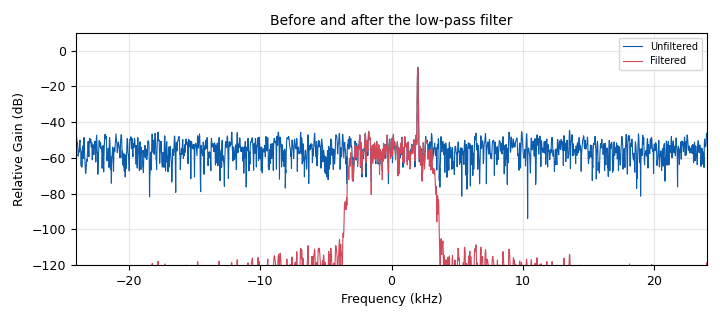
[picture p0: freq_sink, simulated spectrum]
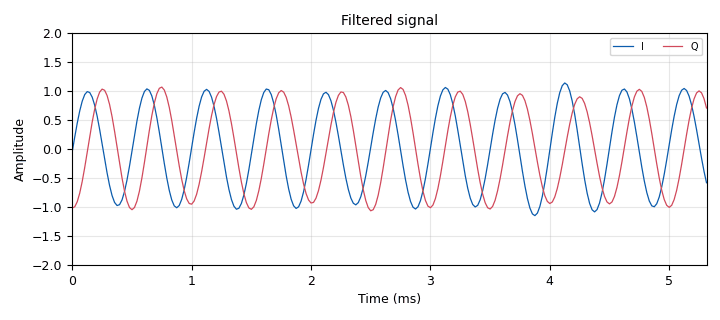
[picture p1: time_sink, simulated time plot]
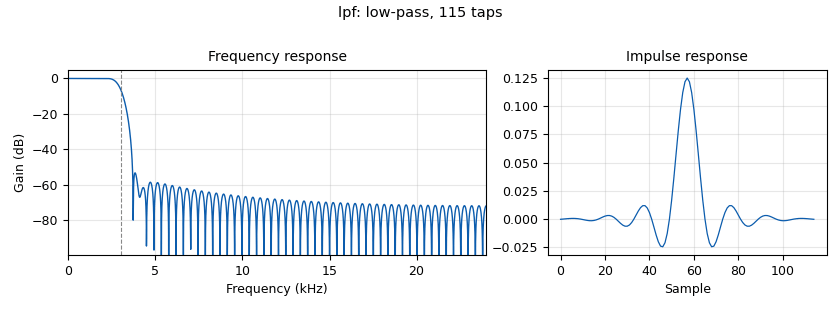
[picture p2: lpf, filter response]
options:
  parameters:
    author: GNU Radio Intro Workshop
    description: A tone in noise, cleaned up by a low-pass filter
    generate_options: qt_gui
    generator_class_name: PythonQtGuiGenerator
    generator_module: gnuradio.grc.workflows.python_qt_gui
    id: noise_and_filtering
    output_language: python
    title: Noise and Filtering
  states: {}

blocks:
- name: cutoff
  id: variable_qtgui_range
  parameters:
    gui_hint: 1,0,1,1
    label: Filter cutoff (Hz)
    start: '500'
    step: '250'
    stop: '20000'
    value: '3000'
  states: {}
- name: freq
  id: variable_qtgui_range
  parameters:
    gui_hint: 0,0,1,1
    label: Tone frequency (Hz)
    start: '-24000'
    step: '250'
    stop: '24000'
    value: '2000'
  states: {}
- name: noise_amp
  id: variable_qtgui_range
  parameters:
    gui_hint: 0,1,1,1
    label: Noise amplitude
    start: '0'
    step: '0.01'
    stop: '1'
    value: '0.2'
  states: {}
- name: samp_rate
  id: variable
  parameters:
    value: '48000'
  states: {}
- name: width
  id: variable_qtgui_range
  parameters:
    gui_hint: 1,1,1,1
    label: Transition width (Hz)
    start: '100'
    step: '100'
    stop: '5000'
    value: '1000'
  states: {}
- name: add
  id: blocks_add_xx
  parameters:
    type: complex
  states: {}
- name: freq_sink
  id: qtgui_freq_sink_x
  parameters:
    bw: samp_rate
    fc: '0'
    fftsize: '2048'
    gui_hint: 2,0,1,2
    label1: '"Unfiltered"'
    label2: '"Filtered"'
    name: '"Before and after the low-pass filter"'
    nconnections: '2'
    type: complex
    ymin: '-120'
  states: {}
- name: lpf
  id: low_pass_filter
  parameters:
    cutoff_freq: cutoff
    decim: '1'
    gain: '1'
    samp_rate: samp_rate
    type: fir_filter_ccf
    width: width
    win: window.WIN_HAMMING
  states: {}
- name: noise
  id: analog_noise_source_x
  parameters:
    amp: noise_amp
    noise_type: analog.GR_GAUSSIAN
    seed: '0'
    type: complex
  states: {}
- name: sig
  id: analog_sig_source_x
  parameters:
    amp: '1'
    freq: freq
    offset: '0'
    phase: '0'
    samp_rate: samp_rate
    type: complex
    waveform: analog.GR_COS_WAVE
  states: {}
- name: throttle
  id: blocks_throttle2
  parameters:
    samples_per_second: samp_rate
    type: complex
  states: {}
- name: time_sink
  id: qtgui_time_sink_x
  parameters:
    gui_hint: 3,0,1,2
    label1: '"I"'
    label2: '"Q"'
    name: '"Filtered signal"'
    size: '256'
    srate: samp_rate
    tr_mode: qtgui.TRIG_MODE_AUTO
    type: complex
    ymax: '2'
    ymin: '-2'
  states: {}

connections:
- [add, '0', throttle, '0']
- [lpf, '0', freq_sink, '1']
- [lpf, '0', time_sink, '0']
- [noise, '0', add, '1']
- [sig, '0', add, '0']
- [throttle, '0', freq_sink, '0']
- [throttle, '0', lpf, '0']

metadata:
  file_format: 1
  grc_version: 3.10.12.0
